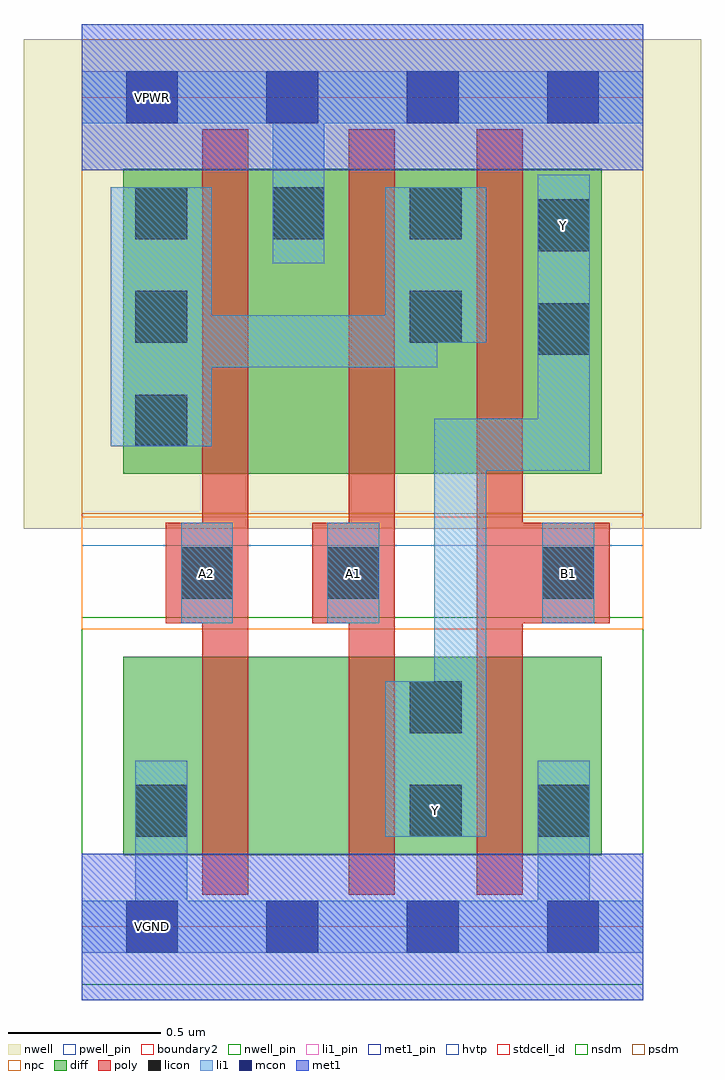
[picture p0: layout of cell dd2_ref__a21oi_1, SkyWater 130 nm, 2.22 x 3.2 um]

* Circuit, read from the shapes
.subckt dd2_ref__a21oi_1 A1 A2 B1 VGND VNB VPB VPWR Y
XM1 n1 A2 VGND VNB sky130_fd_pr__nfet_01v8 w=0.65 l=0.15
XM2 Y A1 n1 VNB sky130_fd_pr__nfet_01v8 w=0.65 l=0.15
XM3 VGND B1 Y VNB sky130_fd_pr__nfet_01v8 w=0.65 l=0.15
XM4 VPWR A2 n2 VPB sky130_fd_pr__pfet_01v8_hvt w=1 l=0.15
XM5 n2 A1 VPWR VPB sky130_fd_pr__pfet_01v8_hvt w=1 l=0.15
XM6 Y B1 n2 VPB sky130_fd_pr__pfet_01v8_hvt w=1 l=0.15
.ends

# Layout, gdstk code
import gdstk
lib = gdstk.Library(unit=1e-6, precision=1e-09)
def R(c, l, rs):  # rectangles x0, y0, x1, y1
    for r in rs: c.add(gdstk.rectangle(r[:2], r[2:], *l))
def A(c, l, x, y, w, h, nx, ny, dx, dy):  # array of equal rectangles
    R(c, l, [(x+i*dx, y+j*dy, x+i*dx+w, y+j*dy+h) for i in range(nx) for j in range(ny)])
nwell_pin = (64, 16)
nwell = (64, 20)
diff = (65, 20)
poly = (66, 20)
licon = (66, 44)
li1_pin = (67, 16)
li1 = (67, 20)
mcon = (67, 44)
met1_pin = (68, 16)
met1 = (68, 20)
hvtp = (78, 44)
stdcell_id = (81, 4)
nsdm = (93, 44)
psdm = (94, 20)
npc = (95, 20)
pwell_pin = (122, 16)
boundary2 = (236, 0)

dd2_ref__a21oi_1 = lib.new_cell('dd2_ref__a21oi_1')
R(dd2_ref__a21oi_1, nwell_pin, [(0.145,2.635,0.315,2.805)])
R(dd2_ref__a21oi_1, nwell, [(-0.19,1.305,2.03,2.91)])
R(dd2_ref__a21oi_1, diff, [(0.135,0.235,0.71,0.885), (0.71,0.235,1.16,0.885), (1.16,0.235,1.705,0.885), (0.135,1.485,0.71,2.485), (0.71,1.485,1.16,2.485), (1.16,1.485,1.705,2.485)])
R(dd2_ref__a21oi_1, poly, [(0.395,0.105,0.545,2.615), (0.875,0.105,1.025,2.615), (1.295,0.105,1.445,2.615), (0.275,0.995,0.545,1.325), (0.755,0.995,1.025,1.325), (1.295,0.995,1.73,1.325)])
A(dd2_ref__a21oi_1, licon, 0.175, 2.255, 0.17, 0.17, 3, 1, 0.45, 0)
R(dd2_ref__a21oi_1, licon, [(0.175,0.295,0.345,0.465), (1.075,0.295,1.245,0.465), (1.495,0.295,1.665,0.465), (1.075,0.635,1.245,0.805), (0.325,1.075,0.495,1.245), (0.805,1.075,0.975,1.245), (1.51,1.075,1.68,1.245), (0.175,1.575,0.345,1.745), (1.495,1.875,1.665,2.045), (0.175,1.915,0.345,2.085), (1.075,1.915,1.245,2.085), (1.495,2.215,1.665,2.385)])
R(dd2_ref__a21oi_1, li1_pin, [(1.075,0.295,1.245,0.465), (0.325,1.075,0.495,1.245), (0.805,1.075,0.975,1.245), (1.51,1.075,1.68,1.245), (1.495,2.215,1.665,2.385)])
R(dd2_ref__a21oi_1, li1, [(0,-0.085,1.84,0.085), (0.175,-0.085,0.345,0.545), (1.495,-0.085,1.665,0.545), (0.995,0.295,1.325,0.465), (0.995,0.295,1.325,0.805), (1.155,0.295,1.325,1.665), (0.325,0.995,0.495,1.325), (0.805,0.995,0.975,1.325), (1.51,0.995,1.68,1.325), (1.155,1.495,1.665,1.665), (1.495,1.495,1.665,2.305), (0.095,1.575,0.425,2.085), (1.495,1.665,1.665,1.795), (1.495,1.665,1.665,1.795), (1.495,1.665,1.665,1.795), (1.495,1.665,1.665,1.795), (1.495,1.795,1.665,2.385), (0.255,1.835,0.425,2.425), (0.255,1.835,1.165,2.005), (0.995,1.835,1.165,2.425), (0.095,1.915,0.425,2.425), (0.995,1.915,1.325,2.425), (1.495,2.135,1.665,2.465), (0.625,2.175,0.795,2.805), (0.095,2.255,0.425,2.425), (0.995,2.255,1.325,2.425), (0,2.635,1.84,2.805)])
A(dd2_ref__a21oi_1, mcon, 0.145, -0.085, 0.17, 0.17, 4, 2, 0.46, 2.72)
R(dd2_ref__a21oi_1, met1_pin, [(0.145,-0.085,0.315,0.085), (0.145,2.635,0.315,2.805)])
R(dd2_ref__a21oi_1, met1, [(0,-0.24,1.84,0.24), (0,2.48,1.84,2.96)])
R(dd2_ref__a21oi_1, hvtp, [(0,1.25,1.84,2.72)])
R(dd2_ref__a21oi_1, stdcell_id, [(0,0,1.84,2.72)])
R(dd2_ref__a21oi_1, nsdm, [(0,-0.19,1.84,1.015)])
R(dd2_ref__a21oi_1, psdm, [(0,1.355,1.84,2.91)])
R(dd2_ref__a21oi_1, npc, [(0,0.975,1.84,1.345)])
R(dd2_ref__a21oi_1, pwell_pin, [(0.145,-0.085,0.315,0.085)])
R(dd2_ref__a21oi_1, boundary2, [(0,0,1.84,2.72)])
dd2_ref__a21oi_1.add(gdstk.Label('A1', (0.89,1.16), layer=67, texttype=5))
dd2_ref__a21oi_1.add(gdstk.Label('A2', (0.41,1.16), layer=67, texttype=5))
dd2_ref__a21oi_1.add(gdstk.Label('B1', (1.595,1.16), layer=67, texttype=5))
dd2_ref__a21oi_1.add(gdstk.Label('Y', (1.16,0.38), layer=67, texttype=5))
dd2_ref__a21oi_1.add(gdstk.Label('Y', (1.58,2.3), layer=67, texttype=5))
dd2_ref__a21oi_1.add(gdstk.Label('VGND', (0.23,0), layer=68, texttype=5))
dd2_ref__a21oi_1.add(gdstk.Label('VPWR', (0.23,2.72), layer=68, texttype=5))
dd2_ref__a21oi_1.add(gdstk.Label('VPB', (0.23,2.72), layer=64, texttype=5))
dd2_ref__a21oi_1.add(gdstk.Label('VNB', (0.23,0), layer=64, texttype=59))

lib.write_gds('dd2_ref__a21oi_1.gds')
